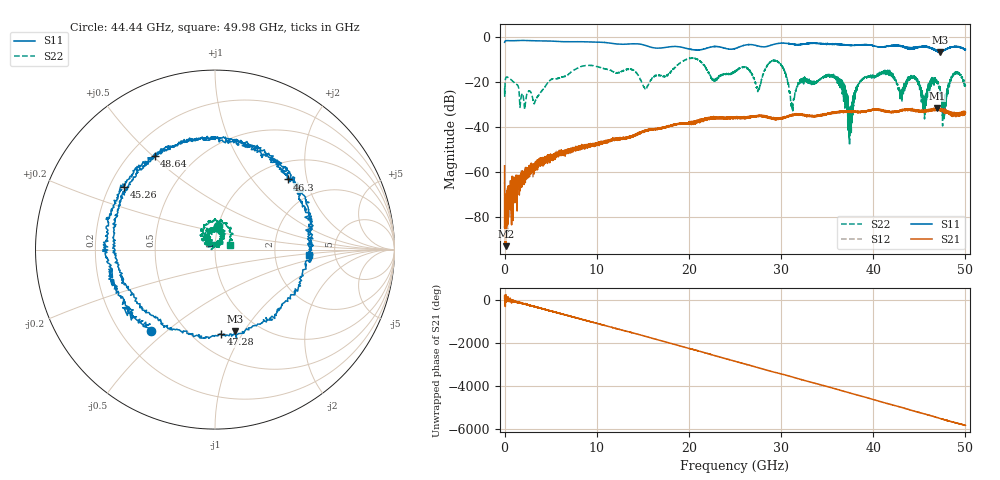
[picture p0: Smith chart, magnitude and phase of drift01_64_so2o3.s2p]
!Created with skrf (http://scikit-rf.org).
# Hz S RI R 50.0
!freq ReS11 ImS11 ReS21 ImS21 ReS12 ImS12 ReS22 ImS22
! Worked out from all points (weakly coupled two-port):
!   10001 points, 300 kHz to 50 GHz, reference 50 ohm
!   highest |S21| = -31.45 dB at 46.91 GHz (marker M1); lowest = -93.1 dB at 120.3 MHz (marker M2)
!   lowest |S11| = -6.6 dB at 47.21 GHz (marker M3), VSWR 2.77, Z = 39 - j45.6 ohm
!   |S11| at or under -10 dB: nowhere
!   |S22| runs from -48.2 to -9.2 dB; largest |S21 - S12| = 0.0037
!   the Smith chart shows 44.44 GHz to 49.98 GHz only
!   S11 on the Smith chart (normalised r, x): 44.44 GHz: 0.33, -0.44; 45.26 GHz: 0.26, +0.29; 46.3 GHz: 1.35, +1.54; 47.28 GHz: 0.67, -0.81; 48.64 GHz: 0.30, +0.51; 49.98 GHz: 3.20, -0.29
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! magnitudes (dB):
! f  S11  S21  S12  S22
! 300 kHz  -2.2  -57.3  -64.4  -22.6
! 120.3 MHz  -1.5  -93.1  -77.4  -18.1
! 3.29 GHz  -1.5  -58.9  -58.9  -28.8
! 8.335 GHz  -1.9  -48.8  -49.6  -12.9
! 16.67 GHz  -4.8  -40.8  -40.9  -16.7
! 25 GHz  -5.0  -35.9  -36.2  -15.3
! 29.58 GHz  -2.8  -36.2  -36.3  -10.7
! 31.23 GHz  -3.0  -34.6  -34.6  -31.9
! 33.34 GHz  -2.6  -35.0  -35.0  -20.3
! 36.1 GHz  -3.0  -33.3  -33.2  -19.4
! 37.48 GHz  -3.5  -33.1  -33.2  -33.1
! 38.66 GHz  -3.3  -33.1  -33.2  -19.3
! 41.67 GHz  -3.8  -33.1  -33.1  -16.0
! 44.44 GHz  -4.8  -32.8  -32.6  -17.5
! 45.26 GHz  -4.3  -32.7  -33.0  -25.7
! 46.3 GHz  -5.0  -32.6  -32.2  -18.5
! 46.91 GHz  -6.2  -31.4  -32.1  -19.6
! 47.21 GHz  -6.6  -32.2  -32.2  -22.4
! 47.28 GHz  -6.5  -32.2  -32.1  -24.2
! 48.64 GHz  -4.2  -33.5  -33.9  -16.5
! 49.98 GHz  -5.6  -33.6  -33.3  -21.4
! 50 GHz  -5.4  -33.6  -33.0  -21.3
